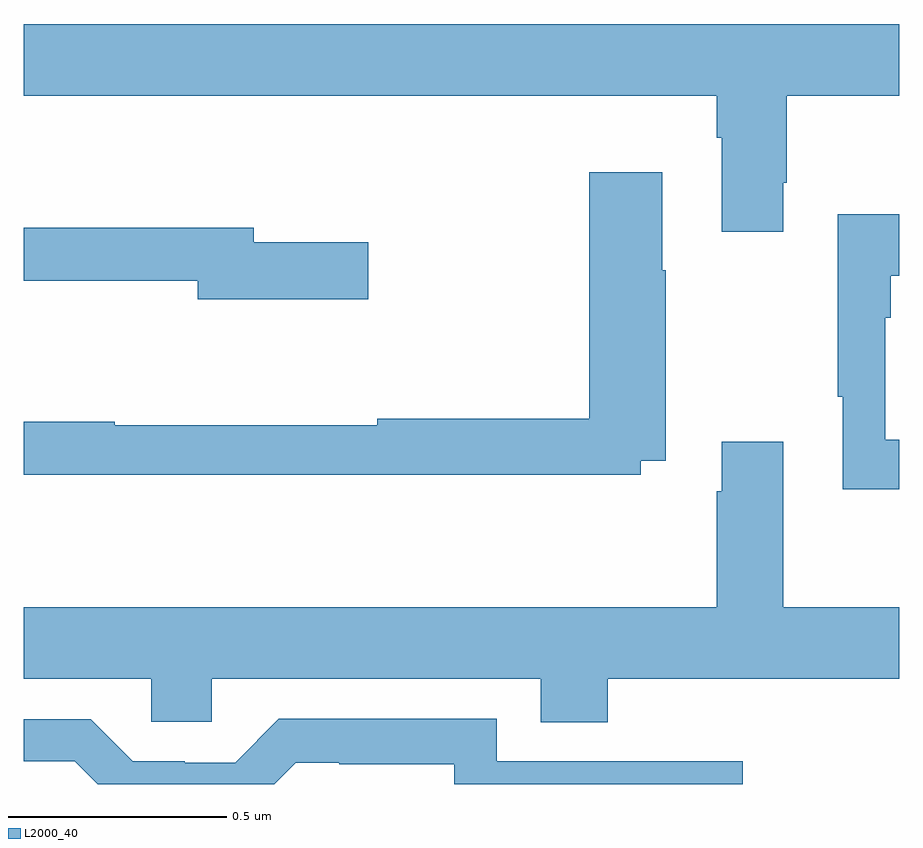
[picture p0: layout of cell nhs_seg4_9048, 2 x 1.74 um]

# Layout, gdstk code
import gdstk
lib = gdstk.Library(unit=1e-6, precision=1e-09)
def P(c, l, *ps):  # polygons
    for p in ps: c.add(gdstk.Polygon(p, *l))
L2000_40 = (2000, 40)

nhs_seg4_9048 = lib.new_cell('nhs_seg4_9048')
P(nhs_seg4_9048, L2000_40, [(223.735,811.273),(223.743,811.273),(223.743,811.472),(224,811.472),(224,811.636),(222,811.636),(222,811.472),(223.583,811.472),(223.583,811.376),(223.595,811.376),(223.595,811.161),(223.735,811.161)],
  [(223.41,810.638),(223.467,810.638),(223.467,811.073),(223.459,811.073),(223.459,811.297),(223.292,811.297),(223.292,810.734),(222.808,810.734),(222.808,810.719),(222.208,810.719),(222.208,810.727),(222,810.727),(222,810.606),(223.41,810.606)],
  [(224,810.686),(223.968,810.686),(223.968,810.965),(223.981,810.965),(223.981,811.061),(224,811.061),(224,811.201),(223.86,811.201),(223.86,810.785),(223.871,810.785),(223.871,810.573),(224,810.573)],
  [(222.787,811.137),(222.526,811.137),(222.526,811.171),(222,811.171),(222,811.05),(222.398,811.05),(222.398,811.007),(222.787,811.007)],
  [(223.334,810.14),(224,810.14),(224,810.304),(223.735,810.304),(223.735,810.682),(223.595,810.682),(223.595,810.569),(223.583,810.569),(223.583,810.304),(222,810.304),(222,810.14),(222.291,810.14),(222.291,810.042),(222.429,810.042),(222.429,810.14),(223.181,810.14),(223.181,810.041),(223.334,810.041)],
  [(222.621,809.949),(222.721,809.949),(222.721,809.945),(222.984,809.945),(222.984,809.9),(223.642,809.9),(223.642,809.952),(223.08,809.952),(223.08,810.049),(222.583,810.049),(222.483,809.949),(222.368,809.949),(222.368,809.952),(222.249,809.952),(222.153,810.048),(222,810.048),(222,809.952),(222.117,809.952),(222.169,809.9),(222.572,809.9)])

lib.write_gds('nhs_seg4_9048.gds')
